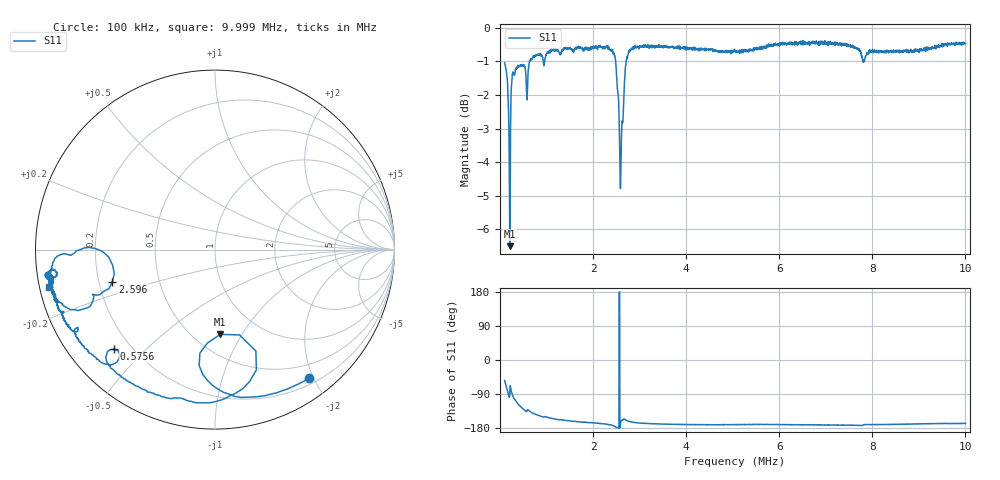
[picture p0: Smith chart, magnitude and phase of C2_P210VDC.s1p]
# HZ S RI R 50
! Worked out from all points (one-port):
!   2020 points, 100 kHz to 9.999 MHz, reference 50 ohm
!   lowest |S11| = -6.5 dB at 212.8 kHz (marker M1), VSWR 2.80, Z = 33.3 - j40.5 ohm
!   |S11| at or under -10 dB: nowhere
!   S11 on the Smith chart (normalised r, x): 100 kHz: 0.29, -1.93; 575.6 kHz: 0.14, -0.40; 2.596 MHz: 0.26, -0.14; 9.999 MHz: 0.03, -0.11
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100000  0.5209 -0.7177
139224  0.2768 -0.8141
163739  0.1079 -0.8174
212769  0.029 -0.4723
266702  -0.0251 -0.8529
305926  -0.1834 -0.8302
443210  -0.4772 -0.7389
516755  -0.5744 -0.6637
575591  -0.5624 -0.5551
649136  -0.6463 -0.6194
855062  -0.7673 -0.4918
1340459  -0.8575 -0.3508
2232805  -0.9134 -0.1817
2424022  -0.9159 -0.1119
2531888  -0.8016 -0.0315
2576015  -0.6281 -0.0097
2595627  -0.5723 -0.1803
2644657  -0.6796 -0.2821
2688784  -0.7912 -0.3348
2747620  -0.8604 -0.2953
2855486  -0.8933 -0.2577
3816474  -0.925 -0.1617
5052030  -0.9089 -0.1491
6287586  -0.9369 -0.1485
7528045  -0.9335 -0.1327
7822225  -0.8843 -0.1378
8763601  -0.9062 -0.1754
9999157  -0.9249 -0.2058
